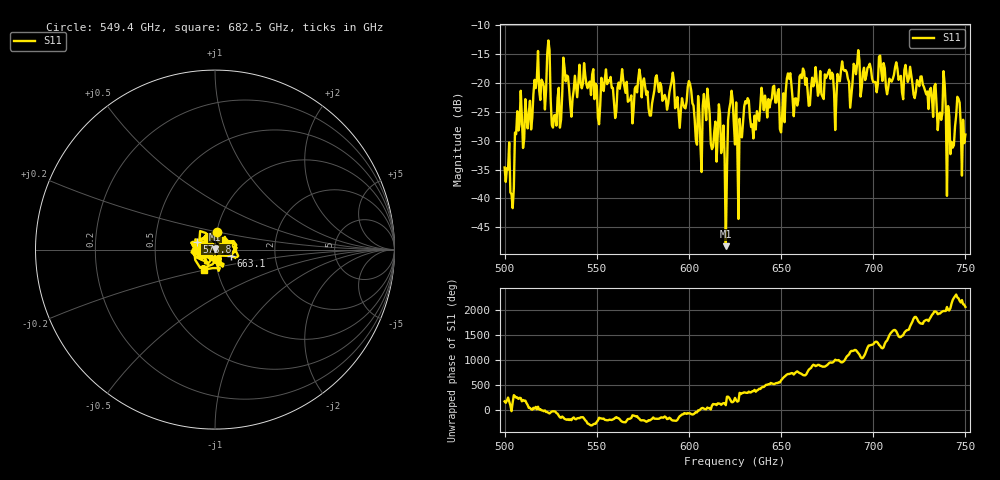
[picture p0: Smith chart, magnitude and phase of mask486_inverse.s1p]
!Created with skrf (http://scikit-rf.org).
# GHz S MA R 50.0
!freq magS11 angS11
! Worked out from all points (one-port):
!   401 points, 500 GHz to 750 GHz, reference 50 ohm
!   lowest |S11| = -48.3 dB at 620 GHz (marker M1), VSWR 1.01, Z = 49.9 + j0.38 ohm
!   |S11| at or under -10 dB: start of sweep to end of sweep
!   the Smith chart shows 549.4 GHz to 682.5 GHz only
!   S11 on the Smith chart (normalised r, x): 549.4 GHz: 1.00, +0.20; 573.8 GHz: 0.81, +0.07; 663.1 GHz: 1.20, -0.08; 682.5 GHz: 0.86, -0.20
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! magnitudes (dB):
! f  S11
! 500 GHz  -34.6
! 504.4 GHz  -41.7
! 507.5 GHz  -28.2
! 516.9 GHz  -20.9
! 523.8 GHz  -12.6
! 526.9 GHz  -25.6
! 531.2 GHz  -22.0
! 549.4 GHz  -20.1
! 562.5 GHz  -21.0
! 573.8 GHz  -19.0
! 593.8 GHz  -22.4
! 600.6 GHz  -20.2
! 605.6 GHz  -25.3
! 609.4 GHz  -26.4
! 620 GHz  -48.3
! 622.5 GHz  -23.4
! 625 GHz  -30.6
! 627.5 GHz  -26.2
! 631.2 GHz  -23.5
! 656.2 GHz  -22.7
! 663.1 GHz  -20.3
! 682.5 GHz  -17.8
! 687.5 GHz  -24.3
! 718.8 GHz  -19.8
! 738.1 GHz  -17.9
! 741.2 GHz  -25.7
! 745.6 GHz  -22.4
! 750 GHz  -28.9
